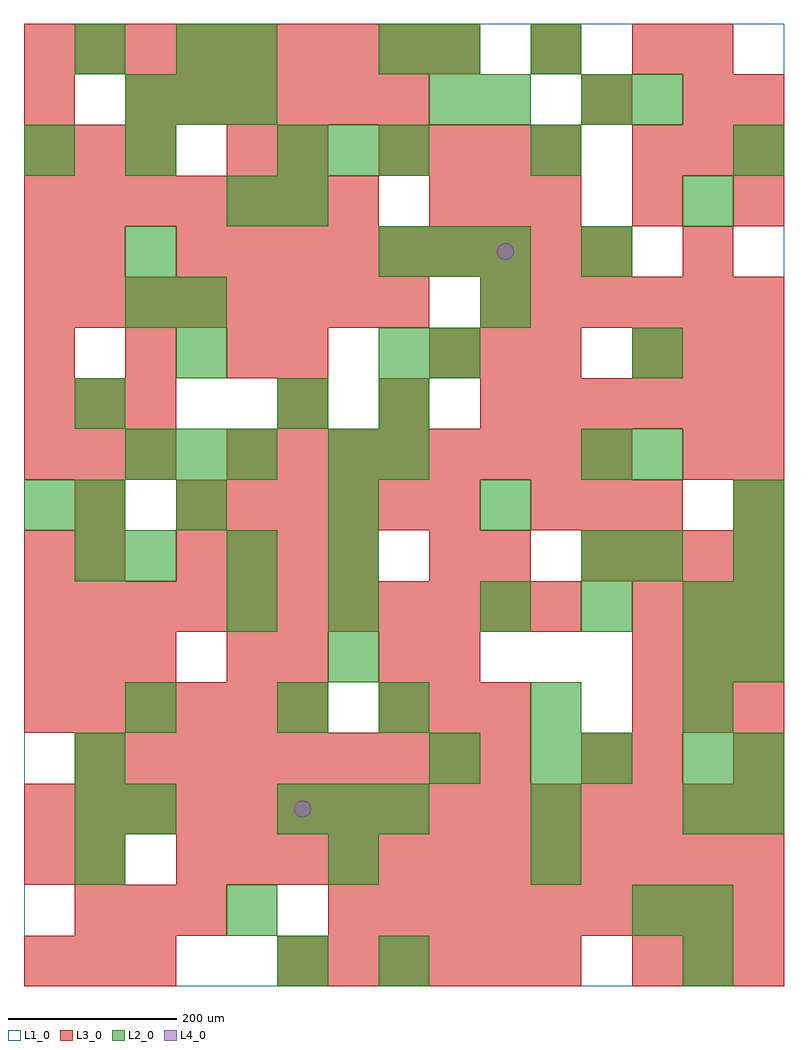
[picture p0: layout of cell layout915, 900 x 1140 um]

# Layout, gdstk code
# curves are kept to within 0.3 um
import gdstk
lib = gdstk.Library(unit=1e-6, precision=1e-09)
def R(c, l, rs):  # rectangles x0, y0, x1, y1
    for r in rs: c.add(gdstk.rectangle(r[:2], r[2:], *l))
def A(c, l, x, y, w, h, nx, ny, dx, dy):  # array of equal rectangles
    R(c, l, [(x+i*dx, y+j*dy, x+i*dx+w, y+j*dy+h) for i in range(nx) for j in range(ny)])
def P(c, l, *ps):  # polygons
    for p in ps: c.add(gdstk.Polygon(p, *l))
L1_0 = (1, 0)
L2_0 = (2, 0)
L3_0 = (3, 0)
L4_0 = (4, 0)

layout915 = lib.new_cell('layout915')
R(layout915, L1_0, [(0,0,900,1140)])
A(layout915, L2_0, 60, 120, 60, 60, 1, 3, 0, 60)
A(layout915, L2_0, 600, 120, 60, 60, 1, 3, 0, 60)
A(layout915, L2_0, 300, 180, 60, 60, 3, 2, 60, 780)
A(layout915, L2_0, 420, 300, 60, 60, 3, 1, 180, 0)
A(layout915, L2_0, 840, 360, 60, 60, 1, 4, 0, 60)
A(layout915, L2_0, 540, 420, 60, 60, 3, 1, 120, 0)
A(layout915, L2_0, 120, 480, 60, 60, 3, 1, 120, 0)
A(layout915, L2_0, 720, 480, 60, 60, 1, 3, 0, 120)
A(layout915, L2_0, 180, 540, 60, 60, 3, 1, 180, 0)
A(layout915, L2_0, 120, 600, 60, 60, 3, 2, 60, 420)
A(layout915, L2_0, 420, 600, 60, 60, 1, 3, 0, 60)
A(layout915, L2_0, 420, 840, 60, 60, 3, 1, 60, 0)
R(layout915, L2_0, [(300,0,360,60), (420,0,480,60), (780,0,840,60), (240,60,300,120), (720,60,780,120), (780,60,840,120), (360,120,420,180), (120,180,180,240), (780,180,840,240), (840,180,900,240), (480,240,540,300), (660,240,720,300), (780,240,840,300), (840,240,900,300), (120,300,180,360), (300,300,360,360), (360,360,420,420), (780,360,840,420), (240,420,300,480), (360,420,420,480), (60,480,120,540), (660,480,720,540), (0,540,60,600), (60,540,120,600), (360,600,420,660), (660,600,720,660), (60,660,120,720), (300,660,360,720), (180,720,240,780), (480,720,540,780), (120,780,180,840), (180,780,240,840), (540,780,600,840), (120,840,180,900), (660,840,720,900), (240,900,300,960), (300,900,360,960), (780,900,840,960), (0,960,60,1020), (120,960,180,1020), (600,960,660,1020), (840,960,900,1020), (480,1020,540,1080), (540,1020,600,1080), (660,1020,720,1080), (720,1020,780,1080), (60,1080,120,1140), (180,1080,240,1140), (240,1080,300,1140), (420,1080,480,1140), (480,1080,540,1140), (600,1080,660,1140)])
A(layout915, L3_0, 0, 0, 60, 60, 3, 2, 60, 360)
A(layout915, L3_0, 300, 0, 60, 60, 6, 1, 60, 0)
A(layout915, L3_0, 720, 0, 60, 60, 3, 2, 60, 300)
A(layout915, L3_0, 60, 60, 60, 60, 3, 1, 60, 0)
A(layout915, L3_0, 360, 60, 60, 60, 9, 1, 60, 0)
A(layout915, L3_0, 0, 120, 60, 60, 1, 3, 0, 360)
A(layout915, L3_0, 180, 120, 60, 60, 12, 1, 60, 0)
A(layout915, L3_0, 0, 180, 60, 60, 15, 1, 60, 0)
A(layout915, L3_0, 60, 240, 60, 60, 9, 1, 60, 0)
A(layout915, L3_0, 0, 300, 60, 60, 6, 1, 60, 0)
A(layout915, L3_0, 420, 300, 60, 60, 3, 1, 60, 0)
A(layout915, L3_0, 720, 360, 60, 60, 3, 2, 60, 60)
A(layout915, L3_0, 0, 420, 60, 60, 11, 1, 60, 0)
A(layout915, L3_0, 180, 480, 60, 60, 4, 1, 60, 0)
A(layout915, L3_0, 660, 480, 60, 60, 4, 1, 60, 0)
A(layout915, L3_0, 180, 540, 60, 60, 6, 1, 60, 0)
A(layout915, L3_0, 600, 540, 60, 60, 3, 1, 60, 0)
A(layout915, L3_0, 0, 600, 60, 60, 3, 2, 60, 60)
A(layout915, L3_0, 240, 600, 60, 60, 8, 1, 60, 0)
A(layout915, L3_0, 300, 660, 60, 60, 3, 1, 120, 0)
A(layout915, L3_0, 600, 660, 60, 60, 5, 1, 60, 0)
A(layout915, L3_0, 0, 720, 60, 60, 3, 1, 120, 0)
A(layout915, L3_0, 480, 720, 60, 60, 3, 2, 60, 180)
A(layout915, L3_0, 720, 720, 60, 60, 3, 2, 60, 240)
A(layout915, L3_0, 0, 780, 60, 60, 8, 1, 60, 0)
A(layout915, L3_0, 540, 780, 60, 60, 6, 1, 60, 0)
A(layout915, L3_0, 180, 840, 60, 60, 9, 1, 60, 0)
A(layout915, L3_0, 0, 900, 60, 60, 7, 1, 60, 0)
A(layout915, L3_0, 0, 960, 60, 60, 3, 1, 60, 0)
A(layout915, L3_0, 420, 960, 60, 60, 4, 1, 60, 0)
A(layout915, L3_0, 120, 1020, 60, 60, 6, 1, 60, 0)
A(layout915, L3_0, 0, 1080, 60, 60, 9, 1, 60, 0)
R(layout915, L3_0, [(60,120,120,180), (660,240,720,300), (720,240,780,300), (840,240,900,300), (240,360,300,420), (300,360,360,420), (420,360,480,420), (480,360,540,420), (60,480,120,540), (480,480,540,540), (540,480,600,540), (60,540,120,600), (840,540,900,600), (780,600,840,660), (840,600,900,660), (300,720,360,780), (60,840,120,900), (780,840,840,900), (720,900,780,960), (840,900,900,960), (240,960,300,1020), (300,960,360,1020), (0,1020,60,1080), (660,1020,720,1080), (780,1020,840,1080), (840,1020,900,1080), (600,1080,660,1140), (720,1080,780,1140), (780,1080,840,1140)])
P(layout915, L4_0, [(340,210),(339.239,213.827),(337.071,217.071),(333.827,219.239),(330,220),(326.173,219.239),(322.929,217.071),(320.761,213.827),(320,210),(320.761,206.173),(322.929,202.929),(326.173,200.761),(330,200),(333.827,200.761),(337.071,202.929),(339.239,206.173)],
  [(580,870),(579.239,873.827),(577.071,877.071),(573.827,879.239),(570,880),(566.173,879.239),(562.929,877.071),(560.761,873.827),(560,870),(560.761,866.173),(562.929,862.929),(566.173,860.761),(570,860),(573.827,860.761),(577.071,862.929),(579.239,866.173)])

lib.write_gds('layout915.gds')
